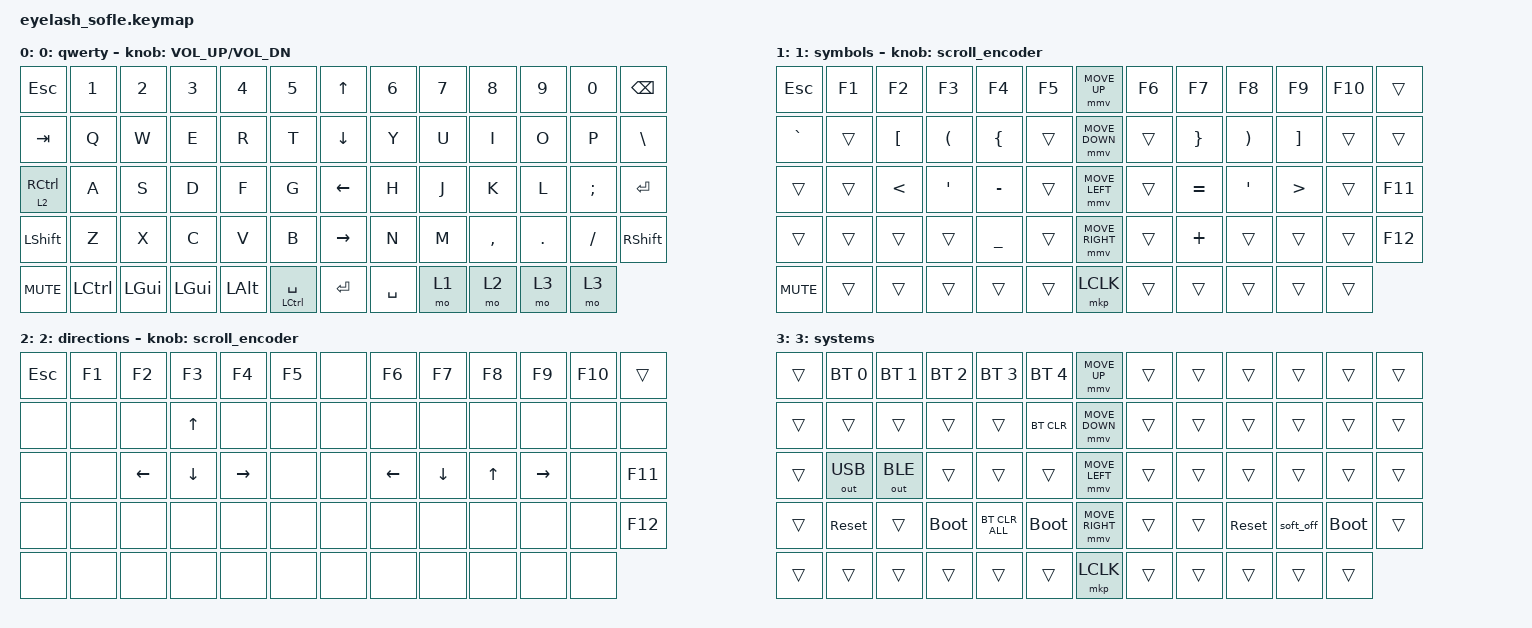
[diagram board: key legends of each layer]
#define ZMK_POINTING_DEFAULT_MOVE_VAL 1200  // default: 600
#define ZMK_POINTING_DEFAULT_SCRL_VAL 35    // default: 10

#include <input/processors.dtsi>
#include <zephyr/dt-bindings/input/input-event-codes.h>
#include <behaviors.dtsi>
#include <dt-bindings/zmk/bt.h>
#include <dt-bindings/zmk/keys.h>
#include <dt-bindings/zmk/outputs.h>
#include <dt-bindings/zmk/pointing.h>
#include <dt-bindings/zmk/rgb.h>

/ {
    zip_scroll_scaler: zip_scroll_scaler {
        compatible = "zmk,input-processor-scaler";
        #input-processor-cells = <2>;
        type = <INPUT_EV_REL>;
        codes = <INPUT_REL_WHEEL INPUT_REL_HWHEEL>;
        track-remainders;
    };
};

// WARNING: A maximum value of 16 should be used for the multiplier and divisor parameters to avoid overflows.
&mmv_input_listener { input-processors = <&zip_xy_scaler 2 1>; };

&msc_input_listener { input-processors = <&zip_scroll_scaler 2 1>; };

&msc {
    acceleration-exponent = <0>;      // 0
    time-to-max-speed-ms = <0>;       // 300
    delay-ms = <0>;                   // 0
};

&mmv {
    time-to-max-speed-ms = <400>;
    acceleration-exponent = <1>;
};

/ {
    scroll_encoder: scroll_encoder {
        compatible = "zmk,behavior-sensor-rotate";
        #sensor-binding-cells = <0>;
        bindings = <&msc SCRL_DOWN>, <&msc SCRL_UP>;

        tap-ms = <30>;
    };

    macros {
        shift_MB3: shift_MB3 {
            compatible = "zmk,behavior-macro";
            #binding-cells = <0>;
            bindings =
                <&macro_press>,
                <&kp LEFT_SHIFT>,
                <&macro_press>,
                <&mkp MB3>,
                <&macro_pause_for_release>,
                <&macro_release>,
                <&mkp MB3 &kp LEFT_SHIFT>;

            label = "SHIFT_MB3";
        };
    };

    behaviors {
    };

    keymap {
        compatible = "zmk,keymap";

        layer0 {
            bindings = <
                &kp ESC        &kp N1     &kp N2         &kp N3        &kp N4        &kp N5             &kp UP_ARROW     &kp N6     &kp N7     &kp N8     &kp N9           &kp N0      &kp BACKSPACE
                &kp TAB        &kp Q      &kp W          &kp E         &kp R         &kp T              &kp DOWN_ARROW   &kp Y      &kp U      &kp I      &kp O            &kp P       &kp BSLH
                &lt 2 RCTRL    &kp A      &kp S          &kp D         &kp F         &kp G              &kp LEFT_ARROW   &kp H      &kp J      &kp K      &kp L            &kp SEMI    &kp ENTER
                &kp LSHFT      &kp Z      &kp X          &kp C         &kp V         &kp B              &kp RIGHT_ARROW  &kp N      &kp M      &kp COMMA  &kp DOT          &kp FSLH    &kp RSHIFT
                &kp C_MUTE     &kp LCTRL  &kp LEFT_GUI   &kp LEFT_GUI  &kp LEFT_ALT  &mt LCTRL SPACE    &kp ENTER        &kp SPACE  &mo 1      &mo 2      &mo 3            &mo 3
            >;

            sensor-bindings = <&inc_dec_kp C_VOLUME_UP C_VOL_DN>;
            display-name = "0: qwerty";
        };

        layer_1 {
            bindings = <
                &kp ESC     &kp F1 &kp F2   &kp F3    &kp F4     &kp F5 &mmv MOVE_UP     &kp F6  &kp F7     &kp F8      &kp F9    &kp F10  &trans
                &kp GRAVE   &trans &kp LBKT &kp LPAR  &kp LBRC   &trans &mmv MOVE_DOWN   &trans  &kp RBRC   &kp RPAR    &kp RBKT  &trans   &trans
                &trans      &trans &kp LT   &kp SQT   &kp MINUS  &trans &mmv MOVE_LEFT   &trans  &kp EQUAL  &kp SQT     &kp GT    &trans   &kp F11
                &trans      &trans &trans   &trans    &kp UNDER  &trans &mmv MOVE_RIGHT  &trans  &kp PLUS   &trans      &trans    &trans   &kp F12
                &kp C_MUTE  &trans &trans   &trans    &trans     &trans &mkp LCLK        &trans  &trans     &trans      &trans    &trans
            >;

            display-name = "1: symbols";
            sensor-bindings = <&scroll_encoder>;
        };

        layer_2 {
            bindings = <
                &kp ESC &kp F1  &kp F2    &kp F3    &kp F4     &kp F5 &none   &kp F6   &kp F7    &kp F8  &kp F9    &kp F10    &trans
                &none   &none   &none     &kp UP    &none      &none  &none   &none    &none     &none   &none     &none      &none
                &none   &none   &kp LEFT  &kp DOWN  &kp RIGHT  &none  &none   &kp LEFT &kp DOWN  &kp UP  &kp RIGHT &none      &kp F11
                &none   &none   &none     &none     &none      &none  &none   &none    &none     &none   &none     &none      &kp F12
                &none   &none   &none     &none     &none      &none  &none   &none    &none     &none   &none     &none
            >;

            display-name = "2: directions";
            sensor-bindings = <&scroll_encoder>;
        };

        layer_3 {
            bindings = <
                &trans     &bt BT_SEL 0  &bt BT_SEL 1 &bt BT_SEL 2  &bt BT_SEL 3   &bt BT_SEL 4    &mmv MOVE_UP     &trans  &trans  &trans      &trans     &trans       &trans
                &trans     &trans        &trans       &trans        &trans         &bt BT_CLR      &mmv MOVE_DOWN   &trans  &trans  &trans      &trans     &trans       &trans
                &trans     &out OUT_USB  &out OUT_BLE &trans        &trans         &trans          &mmv MOVE_LEFT   &trans  &trans  &trans      &trans     &trans       &trans
                &trans     &sys_reset    &trans       &bootloader   &bt BT_CLR_ALL &bootloader     &mmv MOVE_RIGHT  &trans  &trans  &sys_reset  &soft_off  &bootloader  &trans
                &trans     &trans        &trans       &trans        &trans         &trans          &mkp LCLK        &trans  &trans  &trans      &trans     &trans
            >;

            display-name = "3: systems";
        };
    };
};



